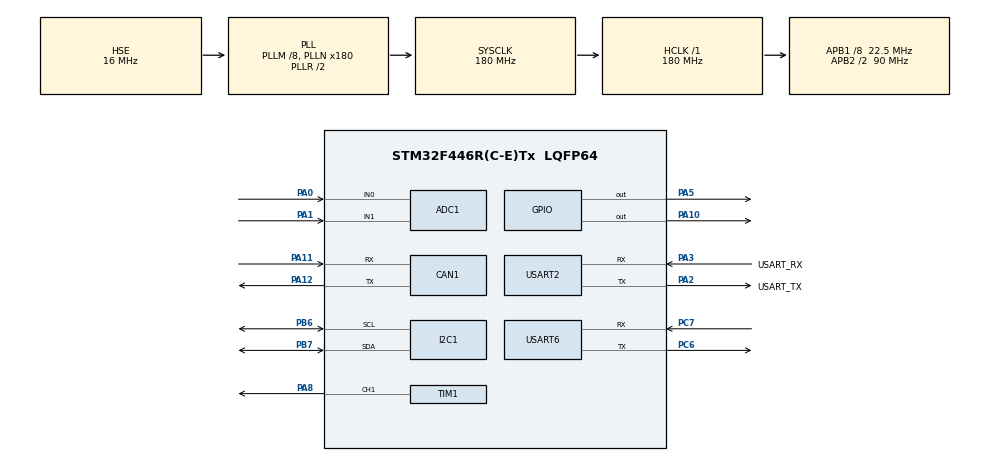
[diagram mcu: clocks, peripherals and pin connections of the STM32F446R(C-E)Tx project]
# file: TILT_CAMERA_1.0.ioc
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ADC1.Channel-0\#ChannelRegularConversion=ADC_CHANNEL_0
ADC1.Channel-1\#ChannelRegularConversion=ADC_CHANNEL_1
ADC1.ContinuousConvMode=ENABLE
ADC1.DMAContinuousRequests=ENABLE
ADC1.NbrOfConversion=2
ADC1.NbrOfConversionFlag=1
ADC1.Rank-0\#ChannelRegularConversion=1
ADC1.Rank-1\#ChannelRegularConversion=2
ADC1.SamplingTime-0\#ChannelRegularConversion=ADC_SAMPLETIME_480CYCLES
ADC1.SamplingTime-1\#ChannelRegularConversion=ADC_SAMPLETIME_480CYCLES
ADC1.ScanConvMode=ENABLE
ADC1.master=1
CAN1.BS1=CAN_BS1_1TQ
CAN1.BS2=CAN_BS2_1TQ
CAN1.CalculateTimeQuantum=711.1111111111111
Dma.ADC1.0.Direction=DMA_PERIPH_TO_MEMORY
Dma.ADC1.0.FIFOMode=DMA_FIFOMODE_DISABLE
Dma.ADC1.0.Instance=DMA2_Stream0
Dma.ADC1.0.MemDataAlignment=DMA_MDATAALIGN_WORD
Dma.ADC1.0.MemInc=DMA_MINC_ENABLE
Dma.ADC1.0.Mode=DMA_CIRCULAR
Dma.ADC1.0.PeriphDataAlignment=DMA_PDATAALIGN_WORD
Dma.ADC1.0.PeriphInc=DMA_PINC_DISABLE
Dma.ADC1.0.Priority=DMA_PRIORITY_LOW
Dma.Request0=ADC1
Mcu.Family=STM32F4
Mcu.Name=STM32F446R(C-E)Tx
Mcu.Package=LQFP64
NVIC.ADC_IRQn=true\:0\:0\:false\:false\:true\:true
NVIC.DMA2_Stream0_IRQn=true\:0\:0\:false\:false\:true\:false
NVIC.PriorityGroup=NVIC_PRIORITYGROUP_0
NVIC.TIM1_BRK_TIM9_IRQn=true\:0\:0\:false\:false\:true\:true
NVIC.TIM1_CC_IRQn=true\:0\:0\:false\:false\:true\:true
NVIC.TIM1_TRG_COM_TIM11_IRQn=true\:0\:0\:false\:false\:true\:true
NVIC.TIM1_UP_TIM10_IRQn=true\:0\:0\:false\:false\:true\:true
PA0-WKUP.Signal=ADCx_IN0
PA1.Signal=ADCx_IN1
PA10.Signal=GPIO_Output
PA11.Mode=Master
PA11.Signal=CAN1_RX
PA12.Mode=Master
PA12.Signal=CAN1_TX
PA2.GPIO_Label=USART_TX
PA2.Mode=Asynchronous
PA2.Signal=USART2_TX
PA3.GPIO_Label=USART_RX
PA3.Mode=Asynchronous
PA3.Signal=USART2_RX
PA5.Signal=GPIO_Output
PA8.GPIO_Speed=GPIO_SPEED_FREQ_HIGH
PA8.Signal=S_TIM1_CH1
PB6.Mode=I2C
PB6.Signal=I2C1_SCL
PB7.Mode=I2C
PB7.Signal=I2C1_SDA
PC6.Mode=Asynchronous
PC6.Signal=USART6_TX
PC7.Mode=Asynchronous
PC7.Signal=USART6_RX
PH0-OSC_IN.Mode=HSE-External-Oscillator
PH0-OSC_IN.Signal=RCC_OSC_IN
PH1-OSC_OUT.Mode=HSE-External-Oscillator
PH1-OSC_OUT.Signal=RCC_OSC_OUT
ProjectManager.HeapSize=0x200
ProjectManager.StackSize=0x400
ProjectManager.TargetToolchain=MDK-ARM V5
RCC.48MHZClocksFreq_Value=84000000
RCC.AHBFreq_Value=180000000
RCC.APB1CLKDivider=RCC_HCLK_DIV8
RCC.APB1Freq_Value=22500000
RCC.APB1TimFreq_Value=45000000
RCC.APB2CLKDivider=RCC_HCLK_DIV2
RCC.APB2Freq_Value=90000000
RCC.APB2TimFreq_Value=180000000
RCC.CortexFreq_Value=180000000
RCC.FLatency-AdvancedSettings=FLASH_LATENCY_5
RCC.HCLKFreq_Value=180000000
RCC.HSE_VALUE=16000000
RCC.HSI_VALUE=16000000
RCC.PLLM=8
RCC.PLLN=180
RCC.PLLP=RCC_PLLP_DIV4
RCC.PLLSourceVirtual=RCC_PLLSOURCE_HSE
RCC.SYSCLKFreq_VALUE=180000000
RCC.SYSCLKSource=RCC_SYSCLKSOURCE_PLLRCLK
RCC.USBFreq_Value=180000000
RCC.VCOOutputFreq_Value=360000000
SH.ADCx_IN0.0=ADC1_IN0,IN0
SH.ADCx_IN1.0=ADC1_IN1,IN1
SH.S_TIM1_CH1.0=TIM1_CH1,PWM Generation1 CH1
TIM1.Channel-PWM\ Generation1\ CH1=TIM_CHANNEL_1
TIM1.Period=999
TIM1.Prescaler=899
USART2.VirtualMode=VM_ASYNC
USART6.VirtualMode=VM_ASYNC
VP_TIM1_VS_ClockSourceINT.Mode=Internal
board=NUCLEO-F446RE

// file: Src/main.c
/* USER CODE BEGIN Header */
/**
  ******************************************************************************
  * @file           : main.c
  * @brief          : Main program body
  ******************************************************************************
  ** This notice applies to any and all portions of this file
  * that are not between comment pairs USER CODE BEGIN and
  * USER CODE END. Other portions of this file, whether
  * inserted by the user or by software development tools
  * are owned by their respective copyright owners.
  *
  * COPYRIGHT(c) 2019 STMicroelectronics
  *
  * Redistribution and use in source and binary forms, with or without modification,
  * are permitted provided that the following conditions are met:
  *   1. Redistributions of source code must retain the above copyright notice,
  *      this list of conditions and the following disclaimer.
  *   2. Redistributions in binary form must reproduce the above copyright notice,
  *      this list of conditions and the following disclaimer in the documentation
  *      and/or other materials provided with the distribution.
  *   3. Neither the name of STMicroelectronics nor the names of its contributors
  *      may be used to endorse or promote products derived from this software
  *      without specific prior written permission.
  *
  * THIS SOFTWARE IS PROVIDED BY THE COPYRIGHT HOLDERS AND CONTRIBUTORS "AS IS"
  * AND ANY EXPRESS OR IMPLIED WARRANTIES, INCLUDING, BUT NOT LIMITED TO, THE
  * IMPLIED WARRANTIES OF MERCHANTABILITY AND FITNESS FOR A PARTICULAR PURPOSE ARE
  * DISCLAIMED. IN NO EVENT SHALL THE COPYRIGHT HOLDER OR CONTRIBUTORS BE LIABLE
  * FOR ANY DIRECT, INDIRECT, INCIDENTAL, SPECIAL, EXEMPLARY, OR CONSEQUENTIAL
  * DAMAGES (INCLUDING, BUT NOT LIMITED TO, PROCUREMENT OF SUBSTITUTE GOODS OR
  * SERVICES; LOSS OF USE, DATA, OR PROFITS; OR BUSINESS INTERRUPTION) HOWEVER
  * CAUSED AND ON ANY THEORY OF LIABILITY, WHETHER IN CONTRACT, STRICT LIABILITY,
  * OR TORT (INCLUDING NEGLIGENCE OR OTHERWISE) ARISING IN ANY WAY OUT OF THE USE
  * OF THIS SOFTWARE, EVEN IF ADVISED OF THE POSSIBILITY OF SUCH DAMAGE.
  *
  ******************************************************************************
  */
/* USER CODE END Header */

#include "main.h"

/* USER CODE BEGIN Includes */
#include "servo.h"
#include "leak.h"
#include <stdlib.h>
#include <Si7021/Si7021_driver.h>
#include <BMP280/BMP280_driver.h>

/* USER CODE END Includes */

ADC_HandleTypeDef hadc1;
DMA_HandleTypeDef hdma_adc1;

CAN_HandleTypeDef hcan1;

I2C_HandleTypeDef hi2c1;

TIM_HandleTypeDef htim1;

UART_HandleTypeDef huart2;
UART_HandleTypeDef huart6;

/* USER CODE BEGIN PV */

Si7021_Handle_t si7021;
BMP280_Handle_t bmp280;

float si7021_temperature, si7021_humidity;
float bmp280_pressure, bmp280_temperature, bmp280_humidity;

uint16_t size;
uint8_t Data[256];

/* USER CODE END PV */

void SystemClock_Config(void);
static void MX_GPIO_Init(void);
static void MX_DMA_Init(void);
static void MX_USART2_UART_Init(void);
static void MX_TIM1_Init(void);
static void MX_ADC1_Init(void);
static void MX_USART6_UART_Init(void);
static void MX_I2C1_Init(void);
static void MX_CAN1_Init(void);

int main(void)
{

  /* MCU Configuration--------------------------------------------------------*/

  /* Reset of all peripherals, Initializes the Flash interface and the Systick. */
  HAL_Init();

  /* Configure the system clock */
  SystemClock_Config();

  /* Initialize all configured peripherals */
  MX_GPIO_Init();
  MX_DMA_Init();
  MX_USART2_UART_Init();
  MX_TIM1_Init();
  MX_ADC1_Init();
  MX_USART6_UART_Init();
  MX_I2C1_Init();
  MX_CAN1_Init();
  /* USER CODE BEGIN 2 */

	//HAL_GPIO_WritePin(GPIOA,GPIO_PIN_10, GPIO_PIN_RESET);

	HAL_CAN_Start( &hcan1 );

	uint8_t data[64];

	CAN_TxHeaderTypeDef ptHeader;
	ptHeader.StdId = 0x7FF;
	ptHeader.ExtId = 0x000;
	ptHeader.IDE   = CAN_ID_STD;
	ptHeader.RTR   = CAN_RTR_DATA;
	ptHeader.DLC   = 8;
	ptHeader.TransmitGlobalTime = DISABLE;

	uint32_t pTxMailbox;

	CAN_RxHeaderTypeDef prHeader;
	prHeader.StdId = 0x7FF;
	prHeader.ExtId = 0x000;
	prHeader.IDE   = CAN_ID_STD;
	prHeader.RTR   = CAN_RTR_DATA;
	prHeader.DLC   = 8;
	prHeader.Timestamp = 0;
	prHeader.FilterMatchIndex = 0;

	HAL_TIM_PWM_Start(&htim1,TIM_CHANNEL_1);

	BMP280_init_default_params(&bmp280.params);
	bmp280.addr = BMP280_I2C_ADDR_0;
	bmp280.i2c = &hi2c1;

	si7021.i2c = &hi2c1;

	while (!BMP280_init(&bmp280, &bmp280.params))
	{
			size = sprintf((char *)Data, "BMP280 initialization failed\r\n");
			HAL_UART_Transmit(&huart2, Data, size, 1000);
			HAL_Delay(2000);
	}

	bool bme280p = bmp280.id == BME280_CHIP_ID;
	size = sprintf((char *)Data, "BMP280: found %s\r\n", bme280p ? "BME280" : "BMP280");
	HAL_UART_Transmit(&huart2, Data, size, 1000);

  /* USER CODE END 2 */

  /* Infinite loop */
  /* USER CODE BEGIN WHILE */

  while (1)
  {

			int servoAngle=SetServoAngle( 90, &hadc1, &htim1, 1 );
			int leakLevel = GetLeakSensorValue( &hadc1, 0 );

		size = sprintf((char *)Data, "ADC value: %2d Servo angle: %3d \r\n",leakLevel,servoAngle);
			HAL_UART_Transmit(&huart2, Data, size, 1000);

			while (!Si7021_read_all_params(&si7021, &si7021_humidity, &si7021_temperature))
			{
					size = sprintf((char *)Data, "Si7021: Humidity/temperature reading failed\r\n");
					HAL_UART_Transmit(&huart2, Data, size, 1000);
					HAL_Delay(1000);
			}

			size = sprintf((char *)Data,"Si7021: Humidity: %.2f, Temperature: %.2f C\r\n", si7021_humidity, si7021_temperature);
			HAL_UART_Transmit(&huart2, Data, size, 1000);
			HAL_Delay(1000);

			while (!BMP280_read_all_params_float(&bmp280, &bmp280_temperature, &bmp280_pressure, &bmp280_humidity))
			{
					size = sprintf((char *)Data, "BMP280: Temperature/pressure reading failed\r\n");
					HAL_UART_Transmit(&huart2, Data, size, 1000);
					HAL_Delay(1000);
			}

			size = sprintf((char *)Data,"BMP280: Pressure: %.2f Pa, Temperature: %.2f C", bmp280_pressure, bmp280_temperature);
			HAL_UART_Transmit(&huart2, Data, size, 1000);
			if(bme280p)
			{
					size = sprintf((char *)Data,", Humidity: %.2f\r\n", bmp280_humidity);
					HAL_UART_Transmit(&huart2, Data, size, 1000);
			}
			else
			{
					size = sprintf((char *)Data, "\r\n");
					HAL_UART_Transmit(&huart2, Data, size, 1000);
			}
			//HAL_Delay(1000);

			size = sprintf( (char *)data,"\t%.2f\t%.2f\t%.2f\t%.2f\t%.2f\t%3d\t%1d\r\n", bmp280_humidity, bmp280_temperature,bmp280_pressure,si7021_humidity,si7021_temperature,leakLevel, servoAngle );

			//while ( HAL_CAN_GetTxMailboxesFreeLevel( &hcan1 ) == 0 )
			//{	}
			if ( HAL_OK == HAL_CAN_AddTxMessage( &hcan1, &ptHeader, data, &pTxMailbox ) )
			{
				HAL_GPIO_TogglePin(GPIOA, GPIO_PIN_5);
			}

			/*while ( 0 == HAL_CAN_GetRxFifoFillLevel( &hcan1, CAN_RX_FIFO0 ) )
			{}

			if ( HAL_OK == HAL_CAN_GetRxMessage( &hcan1, CAN_RX_FIFO0, &prHeader, data) )
			{
				HAL_UART_Transmit( &huart2, data, 64, 1000 );

				HAL_GPIO_TogglePin(GPIOA, GPIO_PIN_5);
			}	*/

    /* USER CODE END WHILE */

  }
}

void SystemClock_Config(void)
{
  RCC_OscInitTypeDef RCC_OscInitStruct = {0};
  RCC_ClkInitTypeDef RCC_ClkInitStruct = {0};

  /**Configure the main internal regulator output voltage
  */
  __HAL_RCC_PWR_CLK_ENABLE();
  __HAL_PWR_VOLTAGESCALING_CONFIG(PWR_REGULATOR_VOLTAGE_SCALE1);
  /**Initializes the CPU, AHB and APB busses clocks
  */
  RCC_OscInitStruct.OscillatorType = RCC_OSCILLATORTYPE_HSE;
  RCC_OscInitStruct.HSEState = RCC_HSE_ON;
  RCC_OscInitStruct.PLL.PLLState = RCC_PLL_ON;
  RCC_OscInitStruct.PLL.PLLSource = RCC_PLLSOURCE_HSE;
  RCC_OscInitStruct.PLL.PLLM = 8;
  RCC_OscInitStruct.PLL.PLLN = 180;
  RCC_OscInitStruct.PLL.PLLP = RCC_PLLP_DIV4;
  RCC_OscInitStruct.PLL.PLLQ = 2;
  RCC_OscInitStruct.PLL.PLLR = 2;
  if (HAL_RCC_OscConfig(&RCC_OscInitStruct) != HAL_OK)
  {
    Error_Handler();
  }
  /**Activate the Over-Drive mode
  */
  if (HAL_PWREx_EnableOverDrive() != HAL_OK)
  {
    Error_Handler();
  }
  /**Initializes the CPU, AHB and APB busses clocks
  */
  RCC_ClkInitStruct.ClockType = RCC_CLOCKTYPE_HCLK|RCC_CLOCKTYPE_SYSCLK
                              |RCC_CLOCKTYPE_PCLK1|RCC_CLOCKTYPE_PCLK2;
  RCC_ClkInitStruct.SYSCLKSource = RCC_SYSCLKSOURCE_PLLRCLK;
  RCC_ClkInitStruct.AHBCLKDivider = RCC_SYSCLK_DIV1;
  RCC_ClkInitStruct.APB1CLKDivider = RCC_HCLK_DIV8;
  RCC_ClkInitStruct.APB2CLKDivider = RCC_HCLK_DIV2;

  if (HAL_RCC_ClockConfig(&RCC_ClkInitStruct, FLASH_LATENCY_5) != HAL_OK)
  {
    Error_Handler();
  }
}

static void MX_ADC1_Init(void)
{

  ADC_ChannelConfTypeDef sConfig = {0};

  /**Configure the global features of the ADC (Clock, Resolution, Data Alignment and number of conversion)
  */
  hadc1.Instance = ADC1;
  hadc1.Init.ClockPrescaler = ADC_CLOCK_SYNC_PCLK_DIV4;
  hadc1.Init.Resolution = ADC_RESOLUTION_12B;
  hadc1.Init.ScanConvMode = ENABLE;
  hadc1.Init.ContinuousConvMode = ENABLE;
  hadc1.Init.DiscontinuousConvMode = DISABLE;
  hadc1.Init.ExternalTrigConvEdge = ADC_EXTERNALTRIGCONVEDGE_NONE;
  hadc1.Init.ExternalTrigConv = ADC_SOFTWARE_START;
  hadc1.Init.DataAlign = ADC_DATAALIGN_RIGHT;
  hadc1.Init.NbrOfConversion = 2;
  hadc1.Init.DMAContinuousRequests = ENABLE;
  hadc1.Init.EOCSelection = ADC_EOC_SINGLE_CONV;
  if (HAL_ADC_Init(&hadc1) != HAL_OK)
  {
    Error_Handler();
  }
  /**Configure for the selected ADC regular channel its corresponding rank in the sequencer and its sample time.
  */
  sConfig.Channel = ADC_CHANNEL_0;
  sConfig.Rank = 1;
  sConfig.SamplingTime = ADC_SAMPLETIME_480CYCLES;
  if (HAL_ADC_ConfigChannel(&hadc1, &sConfig) != HAL_OK)
  {
    Error_Handler();
  }
  /**Configure for the selected ADC regular channel its corresponding rank in the sequencer and its sample time.
  */
  sConfig.Channel = ADC_CHANNEL_1;
  sConfig.Rank = 2;
  if (HAL_ADC_ConfigChannel(&hadc1, &sConfig) != HAL_OK)
  {
    Error_Handler();
  }

}

static void MX_CAN1_Init(void)
{

  hcan1.Instance = CAN1;
  hcan1.Init.Prescaler = 16;
  hcan1.Init.Mode = CAN_MODE_NORMAL;
  hcan1.Init.SyncJumpWidth = CAN_SJW_1TQ;
  hcan1.Init.TimeSeg1 = CAN_BS1_1TQ;
  hcan1.Init.TimeSeg2 = CAN_BS2_1TQ;
  hcan1.Init.TimeTriggeredMode = DISABLE;
  hcan1.Init.AutoBusOff = DISABLE;
  hcan1.Init.AutoWakeUp = DISABLE;
  hcan1.Init.AutoRetransmission = DISABLE;
  hcan1.Init.ReceiveFifoLocked = DISABLE;
  hcan1.Init.TransmitFifoPriority = DISABLE;
  if (HAL_CAN_Init(&hcan1) != HAL_OK)
  {
    Error_Handler();
  }

}

static void MX_I2C1_Init(void)
{

  hi2c1.Instance = I2C1;
  hi2c1.Init.ClockSpeed = 100000;
  hi2c1.Init.DutyCycle = I2C_DUTYCYCLE_2;
  hi2c1.Init.OwnAddress1 = 0;
  hi2c1.Init.AddressingMode = I2C_ADDRESSINGMODE_7BIT;
  hi2c1.Init.DualAddressMode = I2C_DUALADDRESS_DISABLE;
  hi2c1.Init.OwnAddress2 = 0;
  hi2c1.Init.GeneralCallMode = I2C_GENERALCALL_DISABLE;
  hi2c1.Init.NoStretchMode = I2C_NOSTRETCH_DISABLE;
  if (HAL_I2C_Init(&hi2c1) != HAL_OK)
  {
    Error_Handler();
  }

}

static void MX_TIM1_Init(void)
{

  TIM_ClockConfigTypeDef sClockSourceConfig = {0};
  TIM_MasterConfigTypeDef sMasterConfig = {0};
  TIM_OC_InitTypeDef sConfigOC = {0};
  TIM_BreakDeadTimeConfigTypeDef sBreakDeadTimeConfig = {0};

  htim1.Instance = TIM1;
  htim1.Init.Prescaler = 899;
  htim1.Init.CounterMode = TIM_COUNTERMODE_UP;
  htim1.Init.Period = 999;
  htim1.Init.ClockDivision = TIM_CLOCKDIVISION_DIV1;
  htim1.Init.RepetitionCounter = 0;
  if (HAL_TIM_Base_Init(&htim1) != HAL_OK)
  {
    Error_Handler();
  }
  sClockSourceConfig.ClockSource = TIM_CLOCKSOURCE_INTERNAL;
  if (HAL_TIM_ConfigClockSource(&htim1, &sClockSourceConfig) != HAL_OK)
  {
    Error_Handler();
  }
  if (HAL_TIM_PWM_Init(&htim1) != HAL_OK)
  {
    Error_Handler();
  }
  sMasterConfig.MasterOutputTrigger = TIM_TRGO_RESET;
  sMasterConfig.MasterSlaveMode = TIM_MASTERSLAVEMODE_DISABLE;
  if (HAL_TIMEx_MasterConfigSynchronization(&htim1, &sMasterConfig) != HAL_OK)
  {
    Error_Handler();
  }
  sConfigOC.OCMode = TIM_OCMODE_PWM1;
  sConfigOC.Pulse = 0;
  sConfigOC.OCPolarity = TIM_OCPOLARITY_HIGH;
  sConfigOC.OCNPolarity = TIM_OCNPOLARITY_HIGH;
  sConfigOC.OCFastMode = TIM_OCFAST_DISABLE;
  sConfigOC.OCIdleState = TIM_OCIDLESTATE_RESET;
  sConfigOC.OCNIdleState = TIM_OCNIDLESTATE_RESET;
  if (HAL_TIM_PWM_ConfigChannel(&htim1, &sConfigOC, TIM_CHANNEL_1) != HAL_OK)
  {
    Error_Handler();
  }
  sBreakDeadTimeConfig.OffStateRunMode = TIM_OSSR_DISABLE;
  sBreakDeadTimeConfig.OffStateIDLEMode = TIM_OSSI_DISABLE;
  sBreakDeadTimeConfig.LockLevel = TIM_LOCKLEVEL_OFF;
  sBreakDeadTimeConfig.DeadTime = 0;
  sBreakDeadTimeConfig.BreakState = TIM_BREAK_DISABLE;
  sBreakDeadTimeConfig.BreakPolarity = TIM_BREAKPOLARITY_HIGH;
  sBreakDeadTimeConfig.AutomaticOutput = TIM_AUTOMATICOUTPUT_DISABLE;
  if (HAL_TIMEx_ConfigBreakDeadTime(&htim1, &sBreakDeadTimeConfig) != HAL_OK)
  {
    Error_Handler();
  }
  HAL_TIM_MspPostInit(&htim1);

}

static void MX_USART2_UART_Init(void)
{

  huart2.Instance = USART2;
  huart2.Init.BaudRate = 115200;
  huart2.Init.WordLength = UART_WORDLENGTH_8B;
  huart2.Init.StopBits = UART_STOPBITS_1;
  huart2.Init.Parity = UART_PARITY_NONE;
  huart2.Init.Mode = UART_MODE_TX_RX;
  huart2.Init.HwFlowCtl = UART_HWCONTROL_NONE;
  huart2.Init.OverSampling = UART_OVERSAMPLING_16;
  if (HAL_UART_Init(&huart2) != HAL_OK)
  {
    Error_Handler();
  }

}

static void MX_USART6_UART_Init(void)
{

  huart6.Instance = USART6;
  huart6.Init.BaudRate = 115200;
  huart6.Init.WordLength = UART_WORDLENGTH_8B;
  huart6.Init.StopBits = UART_STOPBITS_1;
  huart6.Init.Parity = UART_PARITY_NONE;
  huart6.Init.Mode = UART_MODE_TX_RX;
  huart6.Init.HwFlowCtl = UART_HWCONTROL_NONE;
  huart6.Init.OverSampling = UART_OVERSAMPLING_16;
  if (HAL_UART_Init(&huart6) != HAL_OK)
  {
    Error_Handler();
  }

}

static void MX_DMA_Init(void)
{
  /* DMA controller clock enable */
  __HAL_RCC_DMA2_CLK_ENABLE();

  /* DMA interrupt init */
  /* DMA2_Stream0_IRQn interrupt configuration */
  HAL_NVIC_SetPriority(DMA2_Stream0_IRQn, 0, 0);
  HAL_NVIC_EnableIRQ(DMA2_Stream0_IRQn);

}

static void MX_GPIO_Init(void)
{
  GPIO_InitTypeDef GPIO_InitStruct = {0};

  /* GPIO Ports Clock Enable */
  __HAL_RCC_GPIOH_CLK_ENABLE();
  __HAL_RCC_GPIOA_CLK_ENABLE();
  __HAL_RCC_GPIOC_CLK_ENABLE();
  __HAL_RCC_GPIOB_CLK_ENABLE();

  /*Configure GPIO pin Output Level */
  HAL_GPIO_WritePin(GPIOA, GPIO_PIN_5|GPIO_PIN_10, GPIO_PIN_RESET);

  /*Configure GPIO pins : PA5 PA10 */
  GPIO_InitStruct.Pin = GPIO_PIN_5|GPIO_PIN_10;
  GPIO_InitStruct.Mode = GPIO_MODE_OUTPUT_PP;
  GPIO_InitStruct.Pull = GPIO_NOPULL;
  GPIO_InitStruct.Speed = GPIO_SPEED_FREQ_LOW;
  HAL_GPIO_Init(GPIOA, &GPIO_InitStruct);

}

void Error_Handler(void)
{
}

/************************ (C) COPYRIGHT STMicroelectronics *****END OF FILE****/
